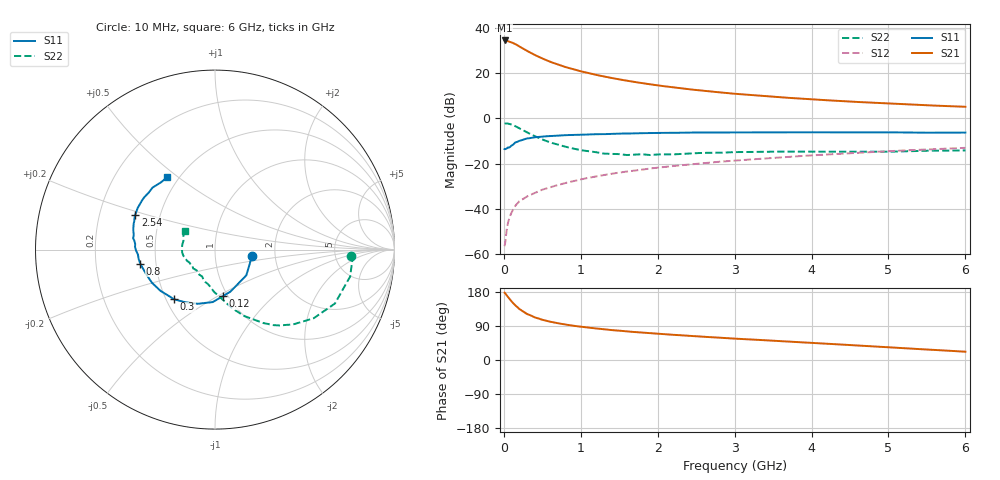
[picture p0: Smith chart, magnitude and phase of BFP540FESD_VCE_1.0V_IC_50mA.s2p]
! Infineon Technologies  Discrete & RF Semiconductors
! BFP540FESD
! VCE =  1.0 V,  IC =  50 mA
! Common Emitter S-Parameters:  Nov 2015
# GHz  S  MA  R  50
!  f  S11  S21  S12  S22
! GHz  MAG  ANG  MAG  ANG  MAG  ANG  MAG  ANG
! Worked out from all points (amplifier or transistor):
!   210 points, 10 MHz to 6 GHz, reference 50 ohm
!   highest |S21| = 34.4 dB at 10 MHz (marker M1)
!   |S21| within 3 dB of that: start of sweep to 219.8 MHz
!   unconditionally stable (mu >= 1): start of sweep to 42.78 MHz; 913 MHz to end of sweep
!   at 185 MHz: K = 0.59, MSG = 34.7 dB, |S12| = -37.3 dB
!   at 1.52 GHz: K = 1.08, MAG = 18.7 dB, |S12| = -23.9 dB
!   at 6 GHz: K = 1.20, MAG = 6.4 dB, |S12| = -13.0 dB
!   S11 on the Smith chart (normalised r, x): 10 MHz: 1.51, -0.11; 120 MHz: 0.95, -0.53; 300 MHz: 0.55, -0.35; 800 MHz: 0.41, -0.08; 2.54 GHz: 0.36, +0.18; 6 GHz: 0.43, +0.46
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0.01  0.2088 -10.0  52.28 177.5  0.0015 110.7  0.7581 -2.9
0.02  0.2087 -19.9  50.52 175.3  0.0019 101.0  0.7689 -3.0
0.05  0.2259 -39.5  50.71 167.4  0.0046 86.7  0.7676 -11.3
0.1  0.2497 -70.0  47.5 154.6  0.0083 80.5  0.7327 -24.2
0.12  0.2619 -79.9  45.69 150.5  0.0096 77.8  0.7047 -28.2
0.15  0.2928 -92.5  43.45 143.8  0.0117 74.9  0.6699 -34.8
0.2  0.3167 -107.6  38.76 134.8  0.0146 71.9  0.6031 -43.7
0.26  0.3409 -121.7  33.76 126.5  0.0169 68.6  0.5326 -52.2
0.3  0.3584 -129.4  30.86 121.6  0.0187 67.8  0.4894 -56.7
0.4  0.381 -143.0  25.02 112.6  0.0223 67.2  0.4038 -66.3
0.5  0.3968 -152.2  20.84 106.1  0.0265 65.4  0.3395 -73.8
0.6  0.4057 -159.0  17.7 101.1  0.0298 66.6  0.2939 -79.5
0.8  0.424 -169.4  13.55 93.4  0.0371 66.3  0.2357 -91.3
1.02  0.4319 -176.9  10.71 87.3  0.0455 66.6  0.1955 -101.8
1.2  0.4456 178.2  9.078 83.2  0.0519 66.0  0.1781 -111.3
1.5  0.4606 172.1  7.21 77.3  0.0632 64.7  0.1616 -126.7
2.02  0.4754 162.6  5.265 68.9  0.0815 61.9  0.1596 -147.9
2.54  0.4852 156.4  4.14 62.1  0.0997 59.0  0.1709 -161.8
3.1  0.4892 150.6  3.376 55.4  0.1195 55.3  0.1798 -169.8
4.1  0.4894 142.8  2.559 44.0  0.1551 48.3  0.1841 176.7
5.1  0.488 134.0  2.084 32.3  0.191 39.5  0.1841 163.0
6  0.4833 123.3  1.795 21.9  0.2226 31.5  0.1953 148.6
